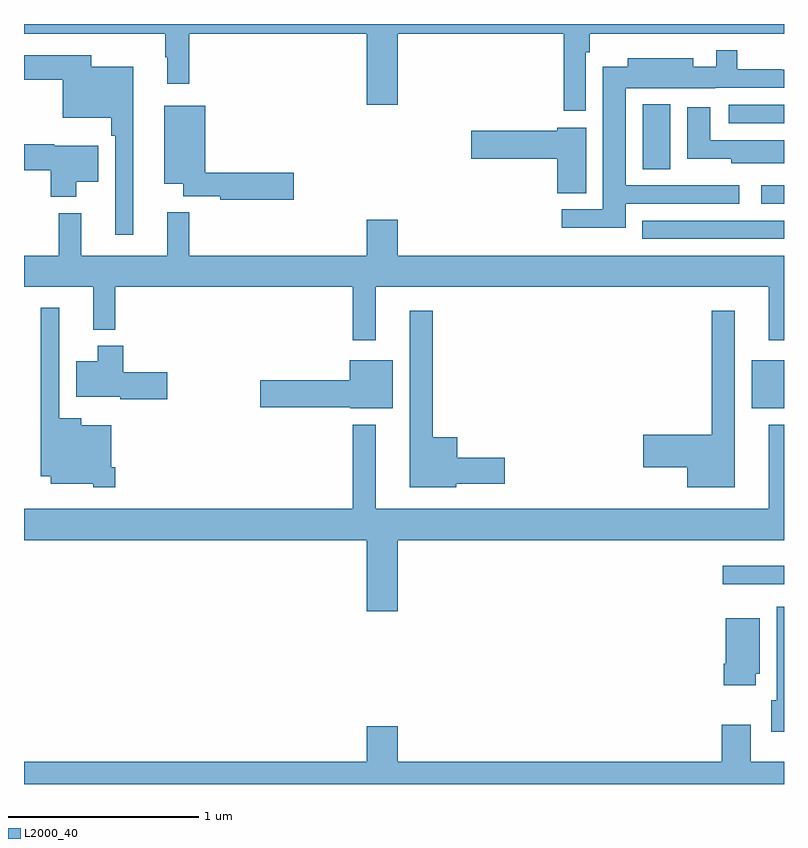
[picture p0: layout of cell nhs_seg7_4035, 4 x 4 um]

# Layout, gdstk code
import gdstk
lib = gdstk.Library(unit=1e-6, precision=1e-09)
def R(c, l, rs):  # rectangles x0, y0, x1, y1
    for r in rs: c.add(gdstk.rectangle(r[:2], r[2:], *l))
def P(c, l, *ps):  # polygons
    for p in ps: c.add(gdstk.Polygon(p, *l))
L2000_40 = (2000, 40)

nhs_seg7_4035 = lib.new_cell('nhs_seg7_4035')
R(nhs_seg7_4035, L2000_40, [(370.677,999.051,371,999.148), (370.829,999.977,371,1000.231), (370.253,1000.869,371,1000.965), (370.881,1001.055,371,1001.151), (370.256,1001.236,370.402,1001.578), (370.71,1001.478,371,1001.574)])
P(nhs_seg7_4035, L2000_40, [(369.957,1001.852),(369.977,1001.852),(369.977,1001.948),(371,1001.948),(371,1002),(367,1002),(367,1001.948),(367.743,1001.948),(367.743,1001.825),(367.754,1001.825),(367.754,1001.685),(367.871,1001.685),(367.871,1001.948),(368.804,1001.948),(368.804,1001.574),(368.968,1001.574),(368.968,1001.948),(369.841,1001.948),(369.841,1001.544),(369.957,1001.544)],
  [(370.168,1001.055),(370.765,1001.055),(370.765,1001.152),(370.498,1001.152),(370.498,1001.151),(370.168,1001.151),(370.168,1001.663),(370.637,1001.663),(370.637,1001.664),(371,1001.664),(371,1001.76),(370.988,1001.76),(370.988,1001.762),(370.753,1001.762),(370.753,1001.863),(370.644,1001.863),(370.644,1001.776),(370.522,1001.776),(370.522,1001.821),(370.178,1001.821),(370.178,1001.776),(370.046,1001.776),(370.046,1001.025),(369.831,1001.025),(369.831,1000.928),(370.168,1000.928)],
  [(367.576,1001.776),(367.354,1001.776),(367.354,1001.836),(367,1001.836),(367,1001.707),(367.205,1001.707),(367.205,1001.507),(367.459,1001.507),(367.459,1001.411),(367.479,1001.411),(367.479,1000.89),(367.576,1000.89)],
  [(368.419,1001.216),(367.954,1001.216),(367.954,1001.569),(367.739,1001.569),(367.739,1001.159),(367.838,1001.159),(367.838,1001.093),(368.034,1001.093),(368.034,1001.074),(368.419,1001.074)],
  [(371,1001.388),(370.939,1001.388),(370.939,1001.389),(370.612,1001.389),(370.612,1001.563),(370.49,1001.563),(370.49,1001.291),(370.722,1001.291),(370.722,1001.267),(371,1001.267)],
  [(369.958,1001.455),(369.806,1001.455),(369.806,1001.438),(369.354,1001.438),(369.354,1001.291),(369.806,1001.291),(369.806,1001.11),(369.958,1001.11)],
  [(367.276,1001.171),(367.39,1001.171),(367.39,1001.359),(367.158,1001.359),(367.158,1001.367),(367,1001.367),(367,1001.23),(367.142,1001.23),(367.142,1001.09),(367.276,1001.09)],
  [(368.851,1000.616),(370.919,1000.616),(370.919,1000.335),(371,1000.335),(371,1000.78),(368.968,1000.78),(368.968,1000.969),(368.804,1000.969),(368.804,1000.78),(367.871,1000.78),(367.871,1001.008),(367.754,1001.008),(367.754,1000.78),(367.301,1000.78),(367.301,1001.005),(367.183,1001.005),(367.183,1000.78),(367,1000.78),(367,1000.616),(367.364,1000.616),(367.364,1000.391),(367.481,1000.391),(367.481,1000.616),(368.73,1000.616),(368.73,1000.335),(368.851,1000.335)],
  [(367.481,999.667),(367.459,999.667),(367.459,999.889),(367.3,999.889),(367.3,999.925),(367.185,999.925),(367.185,1000.507),(367.088,1000.507),(367.088,999.62),(367.142,999.62),(367.142,999.581),(367.365,999.581),(367.365,999.563),(367.481,999.563)],
  [(370.741,1000.492),(370.62,1000.492),(370.62,999.839),(370.26,999.839),(370.26,999.668),(370.49,999.668),(370.49,999.563),(370.741,999.563)],
  [(369.276,999.581),(369.529,999.581),(369.529,999.716),(369.28,999.716),(369.28,999.826),(369.151,999.826),(369.151,1000.492),(369.029,1000.492),(369.029,999.563),(369.276,999.563)],
  [(367.753,1000.167),(367.523,1000.167),(367.523,1000.306),(367.388,1000.306),(367.388,1000.225),(367.274,1000.225),(367.274,1000.037),(367.506,1000.037),(367.506,1000.025),(367.753,1000.025)],
  [(368.941,1000.231),(368.714,1000.231),(368.714,1000.125),(368.244,1000.125),(368.244,999.983),(368.718,999.983),(368.718,999.977),(368.941,999.977)],
  [(368.968,999.284),(371,999.284),(371,999.892),(370.919,999.892),(370.919,999.448),(368.851,999.448),(368.851,999.892),(368.73,999.892),(368.73,999.448),(367,999.448),(367,999.284),(368.804,999.284),(368.804,998.91),(368.968,998.91)],
  [(371,998.932),(370.961,998.932),(370.961,998.442),(370.934,998.442),(370.934,998.276),(371,998.276)],
  [(370.852,998.58),(370.873,998.58),(370.873,998.872),(370.694,998.872),(370.694,998.632),(370.682,998.632),(370.682,998.52),(370.852,998.52)],
  [(371,998.116),(370.825,998.116),(370.825,998.311),(370.673,998.311),(370.673,998.116),(368.968,998.116),(368.968,998.305),(368.804,998.305),(368.804,998.116),(367,998.116),(367,998),(371,998)])

lib.write_gds('nhs_seg7_4035.gds')
